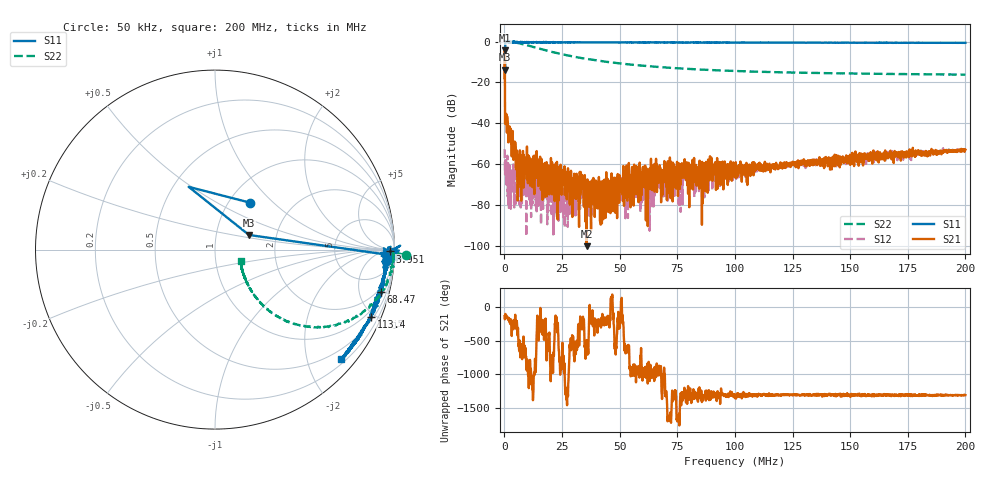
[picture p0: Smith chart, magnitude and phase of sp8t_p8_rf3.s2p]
! 26-Feb-26 1:11:10 PM
! E:\VNA_MEASUREMENTS\SP8T\SP8T_P8_RF3.S2P
! CHANNEL.1
! TR.MEASUREMENT
! CORRECTED.DATA
# GHZ S RI R 50.0
! FREQ.GHZ  S11RE  S11IM  S21RE  S21IM  S12RE  S12IM  S22RE  S22IM
!; PortSelection: Port_12
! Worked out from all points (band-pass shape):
!   2000 points, 50 kHz to 200 MHz, reference 50 ohm
!   highest |S21| = -4.33 dB at 150 kHz (marker M1); lowest = -100.0 dB at 35.66 MHz (marker M2)
!   |S21| within 3 dB of the highest: 127.8 kHz to 158.5 kHz (30.65 kHz wide, 21.4 % of centre)
!   lowest |S11| = -13.7 dB at 250 kHz (marker M3), VSWR 1.52, Z = 72.1 + j12.3 ohm
!   |S11| at or under -10 dB: 179.9 kHz to 277.3 kHz (97.48 kHz wide, 42.6 % of centre)
!   |S22| runs from -16.2 to 0.5 dB; largest |S21 - S12| = 0.61
!   S11 on the Smith chart (normalised r, x): 50 kHz: 1.25, +0.73; 3.951 MHz: 68, -28; 68.47 MHz: 1.48, -7.65; 113.4 MHz: 0.65, -4.74; 200 MHz: 0.30, -2.64
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5e-05  0.1966 0.2611  -0.0933 -0.0879  -0.000126 -0.00234  1.063 -0.0306
0.000150025  -0.1468 0.3497  -0.6057 0.0422  0.000922 -0.000892  1.008 -0.0184
0.00025005  0.1893 0.0815  -0.00997 -0.00144  -0.000562 6.7e-05  1.013 -0.0186
0.0012503  0.9647 -0.0256  -0.0123 -0.00166  -0.000572 0.00152  0.9973 -0.0877
0.003950975  0.9749 -0.0101  -0.00249 0.00125  0.000147 0.000274  0.9298 -0.2304
0.006451601  0.9347 -0.0299  -0.00072 -0.000762  0.000168 6.41e-05  0.8328 -0.3406
0.008552126  0.9573 -0.0539  -0.000344 0.00128  -0.000477 0.000472  0.7546 -0.3914
0.02215553  0.9517 -0.0832  -0.000151 -0.000188  -7.5e-05 0.000245  0.3682 -0.3858
0.02505625  0.945 -0.094  0.000289 0.000108  -6.8e-05 5.52e-05  0.3298 -0.3629
0.03155788  0.9593 -0.1026  -0.000169 -0.000148  2.14e-05 0.000125  0.269 -0.3125
0.03345835  0.9455 -0.1139  0.000359 0.000431  -0.000137 8.24e-05  0.2568 -0.2998
0.0356589  0.946 -0.1269  -6.8e-06 -7.4e-06  -0.00015 0.000268  0.2442 -0.2859
0.04306075  0.9439 -0.1517  -0.000311 -7.01e-05  -9.82e-05 9.56e-05  0.2134 -0.2465
0.05296323  0.9327 -0.1817  0.000162 0.000921  -0.000124 0.000244  0.1893 -0.2073
0.06436608  0.9251 -0.2208  -6.92e-05 0.000383  -0.000341 0.000492  0.1738 -0.1743
0.06676668  0.923 -0.2213  -0.000159 0.000379  -0.000119 0.000456  0.1711 -0.1685
0.06846711  0.9232 -0.2364  -0.000613 0.000382  -0.000232 0.000442  0.1698 -0.1645
0.100075  0.8904 -0.3355  -0.00042 0.000551  -0.00057 0.000504  0.1525 -0.1158
0.1133783  0.8689 -0.3767  -0.000402 0.000757  -0.000508 0.000623  0.1487 -0.1031
0.1333833  0.8331 -0.4304  -0.000583 0.000813  -0.000776 0.000746  0.1467 -0.0891
0.1666917  0.773 -0.5232  -0.00118 0.00117  -0.00106 0.00128  0.1443 -0.0736
0.2  0.7008 -0.6103  -0.00143 0.0018  -0.00132 0.00188  0.1429 -0.0623
